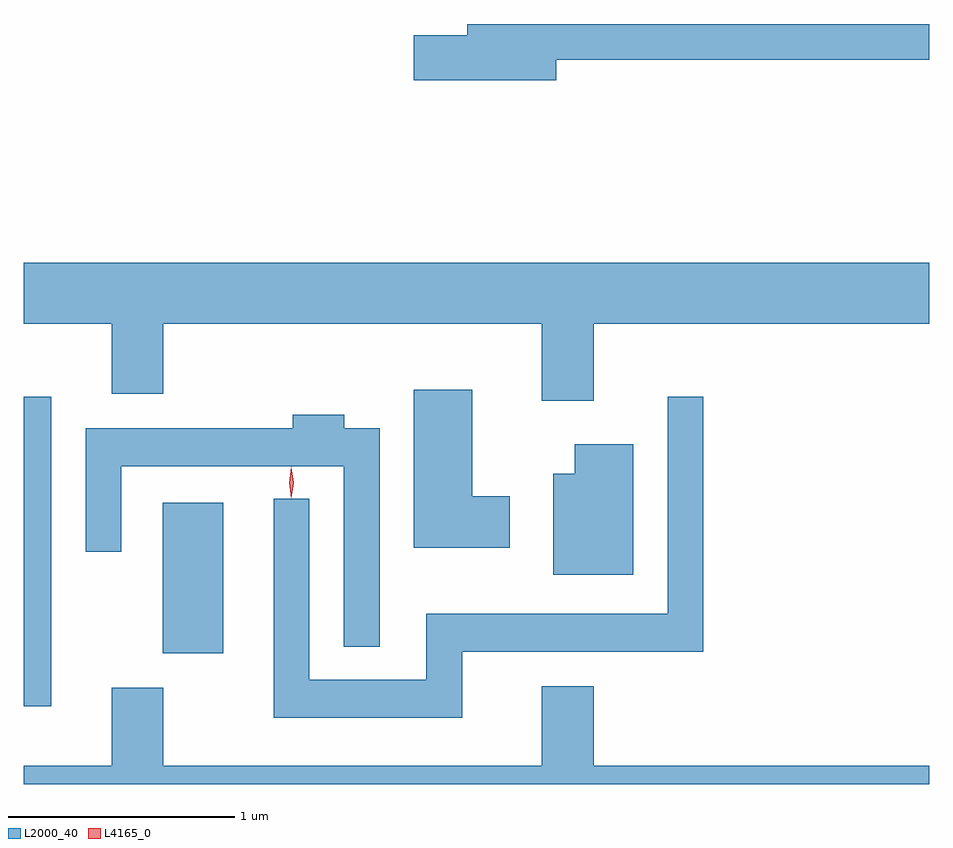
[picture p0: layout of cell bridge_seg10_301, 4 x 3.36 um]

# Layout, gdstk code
import gdstk
lib = gdstk.Library(unit=1e-6, precision=1e-09)
def R(c, l, rs):  # rectangles x0, y0, x1, y1
    for r in rs: c.add(gdstk.rectangle(r[:2], r[2:], *l))
def P(c, l, *ps):  # polygons
    for p in ps: c.add(gdstk.Polygon(p, *l))
L2000_40 = (2000, 40)
L4165_0 = (4165, 0)

bridge_seg10_301 = lib.new_cell('bridge_seg10_301')
R(bridge_seg10_301, L2000_40, [(1426.032,2176.606,1426.154,2177.973), (1426.646,2176.841,1426.914,2177.504)])
P(bridge_seg10_301, L2000_40, [(1428.384,2179.461),(1430.032,2179.461),(1430.032,2179.619),(1427.991,2179.619),(1427.991,2179.569),(1427.756,2179.569),(1427.756,2179.371),(1428.384,2179.371)],
  [(1428.549,2178.296),(1430.032,2178.296),(1430.032,2178.564),(1426.032,2178.564),(1426.032,2178.296),(1426.421,2178.296),(1426.421,2177.986),(1426.649,2177.986),(1426.649,2178.296),(1428.321,2178.296),(1428.321,2177.956),(1428.549,2177.956)],
  [(1428.179,2177.534),(1428.014,2177.534),(1428.014,2178.004),(1427.756,2178.004),(1427.756,2177.306),(1428.179,2177.306)],
  [(1427.969,2176.846),(1429.034,2176.846),(1429.034,2177.973),(1428.876,2177.973),(1428.876,2177.014),(1427.811,2177.014),(1427.811,2176.724),(1427.294,2176.724),(1427.294,2177.523),(1427.136,2177.523),(1427.136,2176.556),(1427.969,2176.556)],
  [(1427.604,2177.834),(1427.449,2177.834),(1427.449,2177.894),(1427.221,2177.894),(1427.221,2177.834),(1426.306,2177.834),(1426.306,2177.288),(1426.464,2177.288),(1426.464,2177.666),(1427.446,2177.666),(1427.446,2176.868),(1427.604,2176.868)],
  [(1428.724,2177.764),(1428.466,2177.764),(1428.466,2177.634),(1428.371,2177.634),(1428.371,2177.186),(1428.724,2177.186)],
  [(1430.032,2176.344),(1428.549,2176.344),(1428.549,2176.694),(1428.321,2176.694),(1428.321,2176.344),(1426.649,2176.344),(1426.649,2176.689),(1426.421,2176.689),(1426.421,2176.344),(1426.032,2176.344),(1426.032,2176.263),(1430.032,2176.263)])
P(bridge_seg10_301, L4165_0, [(1427.215,2177.527),(1427.214,2177.528),(1427.205,2177.594),(1427.214,2177.66),(1427.215,2177.66),(1427.215,2177.66),(1427.225,2177.594),(1427.215,2177.528)],
  [(1427.214,2177.524),(1427.205,2177.593),(1427.214,2177.662),(1427.215,2177.663),(1427.215,2177.662),(1427.225,2177.593),(1427.215,2177.524),(1427.215,2177.524)])

lib.write_gds('bridge_seg10_301.gds')
